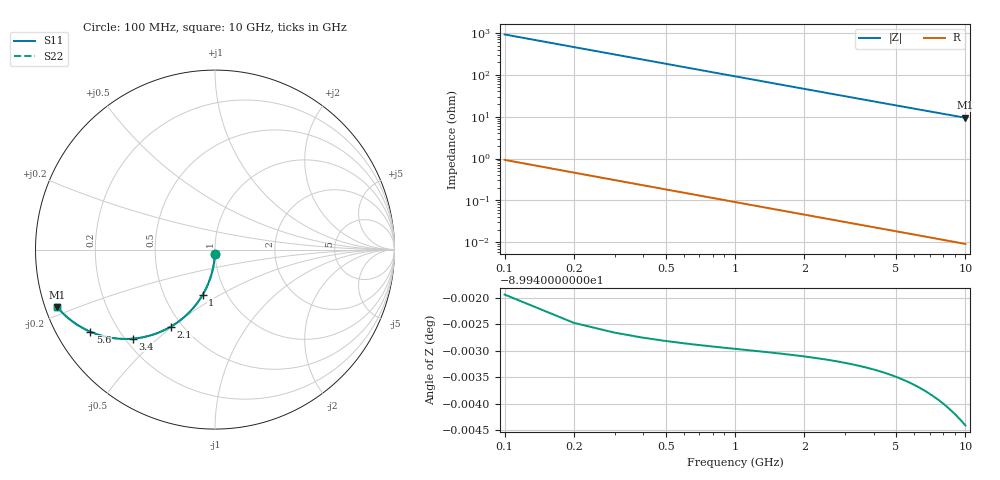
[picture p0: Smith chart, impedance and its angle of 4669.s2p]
# Hz S RI R 50.00
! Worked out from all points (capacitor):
!   100 points, 100 MHz to 10 GHz, reference 50 ohm
!   read as one part in shunt: C = 1.73 pF near 100 MHz
!   lowest |Z| = 9.42 ohm at 10 GHz (marker M1)
!   S11 on the Smith chart (normalised r, x): 100 MHz: 1.00, -0.05; 1 GHz: 0.77, -0.42; 2.1 GHz: 0.44, -0.49; 3.4 GHz: 0.23, -0.42; 5.6 GHz: 0.10, -0.30; 10 GHz: 0.03, -0.18
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1e8  -0.00076 -0.0272  0.9992 -0.0273  0.9992 -0.0273  -0.00076 -0.0272
2e8  -0.003 -0.0542  0.997 -0.0544  0.997 -0.0544  -0.003 -0.0542
3e8  -0.0067 -0.081  0.9933 -0.0813  0.9933 -0.0813  -0.0067 -0.081
4e8  -0.0118 -0.1074  0.9882 -0.1078  0.9882 -0.1078  -0.0118 -0.1074
5e8  -0.0183 -0.1334  0.9817 -0.1338  0.9817 -0.1338  -0.0183 -0.1334
6e8  -0.0261 -0.1587  0.9739 -0.1593  0.9739 -0.1593  -0.0261 -0.1587
7e8  -0.0352 -0.1834  0.9648 -0.1841  0.9648 -0.1841  -0.0352 -0.1834
8e8  -0.0454 -0.2074  0.9546 -0.2081  0.9546 -0.2081  -0.0454 -0.2074
1e9  -0.0691 -0.2527  0.9309 -0.2536  0.9309 -0.2536  -0.0691 -0.2527
1.2e9  -0.0964 -0.2941  0.9035 -0.2953  0.9035 -0.2953  -0.0964 -0.2941
1.4e9  -0.1267 -0.3315  0.8733 -0.3328  0.8733 -0.3328  -0.1267 -0.3315
1.8e9  -0.1931 -0.3934  0.8069 -0.3951  0.8069 -0.3951  -0.1931 -0.3934
2.1e9  -0.2454 -0.4288  0.7546 -0.4308  0.7546 -0.4308  -0.2454 -0.4288
2.7e9  -0.3489 -0.4748  0.6511 -0.4774  0.6511 -0.4774  -0.3489 -0.4748
3.4e9  -0.4585 -0.4962  0.5414 -0.4994  0.5414 -0.4994  -0.4585 -0.4962
4.2e9  -0.5629 -0.4935  0.4371 -0.4975  0.4371 -0.4975  -0.5629 -0.4935
5.1e9  -0.6543 -0.4726  0.3457 -0.4775  0.3457 -0.4775  -0.6543 -0.4726
5.6e9  -0.695 -0.4572  0.305 -0.4626  0.305 -0.4626  -0.695 -0.4572
6.7e9  -0.7648 -0.4203  0.2351 -0.4268  0.2351 -0.4268  -0.7648 -0.4203
7.5e9  -0.8027 -0.3938  0.1972 -0.4011  0.1972 -0.4011  -0.8027 -0.3938
8.4e9  -0.836 -0.3657  0.164 -0.3739  0.164 -0.3739  -0.836 -0.3657
1e10  -0.8782 -0.3216  0.1217 -0.3314  0.1217 -0.3314  -0.8782 -0.3216
